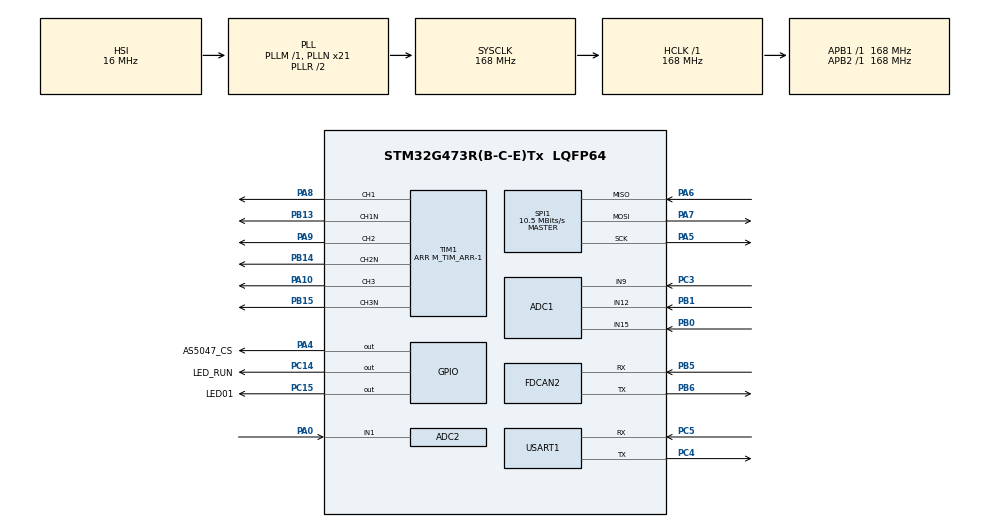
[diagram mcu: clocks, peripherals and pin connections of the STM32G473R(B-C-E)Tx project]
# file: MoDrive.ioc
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ADC1.Channel-0\#ChannelRegularConversion=ADC_CHANNEL_9
ADC1.ContinuousConvMode=ENABLE
ADC1.EnableInjectedConversion=ENABLE
ADC1.ExternalTrigInjecConv=ADC_EXTERNALTRIGINJEC_T1_CC4
ADC1.InjNumberOfConversion=2
ADC1.InjectedChannel-1\#ChannelInjectedConversion=ADC_CHANNEL_15
ADC1.InjectedChannel-2\#ChannelInjectedConversion=ADC_CHANNEL_12
ADC1.InjectedOffsetNumber-1\#ChannelInjectedConversion=ADC_OFFSET_NONE
ADC1.InjectedOffsetNumber-2\#ChannelInjectedConversion=ADC_OFFSET_NONE
ADC1.InjectedRank-1\#ChannelInjectedConversion=1
ADC1.InjectedRank-2\#ChannelInjectedConversion=2
ADC1.InjectedSamplingTime-1\#ChannelInjectedConversion=ADC_SAMPLETIME_2CYCLES_5
ADC1.InjectedSamplingTime-2\#ChannelInjectedConversion=ADC_SAMPLETIME_2CYCLES_5
ADC1.Mode=ADC_DUALMODE_INJECSIMULT
ADC1.NbrOfConversionFlag=1
ADC1.OffsetNumber-0\#ChannelRegularConversion=ADC_OFFSET_NONE
ADC1.Overrun=ADC_OVR_DATA_OVERWRITTEN
ADC1.Rank-0\#ChannelRegularConversion=1
ADC1.SamplingTime-0\#ChannelRegularConversion=ADC_SAMPLETIME_2CYCLES_5
ADC1.master=1
ADC2.EnableInjectedConversion=ENABLE
ADC2.EnableRegularConversion=DISABLE
ADC2.InjNumberOfConversion=1
ADC2.InjectedChannel-1\#ChannelInjectedConversion=ADC_CHANNEL_1
ADC2.InjectedOffsetNumber-1\#ChannelInjectedConversion=ADC_OFFSET_NONE
ADC2.InjectedRank-1\#ChannelInjectedConversion=1
ADC2.InjectedSamplingTime-1\#ChannelInjectedConversion=ADC_SAMPLETIME_2CYCLES_5
ADC2.Mode=ADC_DUALMODE_INJECSIMULT
ADC2.Rank2_Channel=ADC_CHANNEL_1
FDCAN2.CalculateBaudRateNominal=1000000
FDCAN2.CalculateTimeBitNominal=1000
FDCAN2.CalculateTimeQuantumNominal=125.0
FDCAN2.DataPrescaler=1
FDCAN2.DataTimeSeg2=1
FDCAN2.NominalPrescaler=21
FDCAN2.NominalTimeSeg1=3
FDCAN2.NominalTimeSeg2=4
Mcu.Family=STM32G4
Mcu.Name=STM32G473R(B-C-E)Tx
Mcu.Package=LQFP64
Mcu.UserConstants=M_TIM_ARR,8400
NVIC.ADC1_2_IRQn=true\:0\:0\:false\:false\:true\:true\:true\:true
NVIC.FDCAN2_IT0_IRQn=true\:1\:0\:true\:false\:true\:true\:true\:true
NVIC.FDCAN2_IT1_IRQn=true\:1\:0\:true\:false\:true\:true\:true\:true
NVIC.PriorityGroup=NVIC_PRIORITYGROUP_4
NVIC.TIM6_DAC_IRQn=true\:2\:0\:true\:false\:true\:true\:true\:true
PA0.Mode=IN1-Single-Ended
PA0.Signal=ADC2_IN1
PA10.Signal=S_TIM1_CH3
PA13.Mode=Serial_Wire
PA13.Signal=SYS_JTMS-SWDIO
PA14.Mode=Serial_Wire
PA14.Signal=SYS_JTCK-SWCLK
PA4.GPIO_Label=AS5047_CS
PA4.Signal=GPIO_Output
PA5.Mode=Full_Duplex_Master
PA5.Signal=SPI1_SCK
PA6.Mode=Full_Duplex_Master
PA6.Signal=SPI1_MISO
PA7.Mode=Full_Duplex_Master
PA7.Signal=SPI1_MOSI
PA8.Signal=S_TIM1_CH1
PA9.Signal=S_TIM1_CH2
PB0.Mode=IN15-Single-Ended
PB0.Signal=ADC1_IN15
PB1.Mode=IN12-Single-Ended
PB1.Signal=ADC1_IN12
PB13.Mode=PWM Generation1 CH1 CH1N
PB13.Signal=TIM1_CH1N
PB14.Mode=PWM Generation2 CH2 CH2N
PB14.Signal=TIM1_CH2N
PB15.Mode=PWM Generation3 CH3 CH3N
PB15.Signal=TIM1_CH3N
PB5.Mode=FDCAN_Activate
PB5.Signal=FDCAN2_RX
PB6.Mode=FDCAN_Activate
PB6.Signal=FDCAN2_TX
PC14-OSC32_IN.GPIO_Label=LED_RUN
PC14-OSC32_IN.Signal=GPIO_Output
PC15-OSC32_OUT.GPIO_Label=LED01
PC15-OSC32_OUT.Signal=GPIO_Output
PC3.Mode=IN9-Single-Ended
PC3.Signal=ADC1_IN9
PC4.Mode=Asynchronous
PC4.Signal=USART1_TX
PC5.Mode=Asynchronous
PC5.Signal=USART1_RX
ProjectManager.HeapSize=0x200
ProjectManager.StackSize=0x400
ProjectManager.TargetToolchain=CMake
RCC.ADC12Freq_Value=168000000
RCC.ADC345Freq_Value=168000000
RCC.AHBFreq_Value=168000000
RCC.APB1Freq_Value=168000000
RCC.APB1TimFreq_Value=168000000
RCC.APB2Freq_Value=168000000
RCC.APB2TimFreq_Value=168000000
RCC.CortexFreq_Value=168000000
RCC.EXTERNAL_CLOCK_VALUE=12288000
RCC.HCLKFreq_Value=168000000
RCC.HSE_VALUE=8000000
RCC.HSI48_VALUE=48000000
RCC.HSI_VALUE=16000000
RCC.LSE_VALUE=32768
RCC.PLLN=21
RCC.SYSCLKFreq_VALUE=168000000
RCC.SYSCLKSource=RCC_SYSCLKSOURCE_PLLCLK
RCC.USBFreq_Value=168000000
RCC.VCOOutputFreq_Value=336000000
SH.S_TIM1_CH1.0=TIM1_CH1,PWM Generation1 CH1 CH1N
SH.S_TIM1_CH2.0=TIM1_CH2,PWM Generation2 CH2 CH2N
SH.S_TIM1_CH3.0=TIM1_CH3,PWM Generation3 CH3 CH3N
SPI1.BaudRatePrescaler=SPI_BAUDRATEPRESCALER_16
SPI1.CLKPhase=SPI_PHASE_2EDGE
SPI1.CalculateBaudRate=10.5 MBits/s
SPI1.DataSize=SPI_DATASIZE_16BIT
SPI1.Direction=SPI_DIRECTION_2LINES
SPI1.Mode=SPI_MODE_MASTER
SPI1.VirtualType=VM_MASTER
TIM1.Channel-PWM\ Generation1\ CH1\ CH1N=TIM_CHANNEL_1
TIM1.Channel-PWM\ Generation2\ CH2\ CH2N=TIM_CHANNEL_2
TIM1.Channel-PWM\ Generation3\ CH3\ CH3N=TIM_CHANNEL_3
TIM1.Channel-PWM\ Generation4\ No\ Output=TIM_CHANNEL_4
TIM1.ClockDivision=TIM_CLOCKDIVISION_DIV2
TIM1.CounterMode=TIM_COUNTERMODE_CENTERALIGNED3
TIM1.OCMode_PWM-PWM\ Generation1\ CH1\ CH1N=TIM_OCMODE_PWM2
TIM1.OCMode_PWM-PWM\ Generation2\ CH2\ CH2N=TIM_OCMODE_PWM2
TIM1.OCMode_PWM-PWM\ Generation3\ CH3\ CH3N=TIM_OCMODE_PWM2
TIM1.OCMode_PWM-PWM\ Generation4\ No\ Output=TIM_OCMODE_PWM2
TIM1.PeriodNoDither=M_TIM_ARR-1
TIM1.PulseNoDither_1=M_TIM_ARR/2
TIM1.PulseNoDither_2=M_TIM_ARR/2
TIM1.PulseNoDither_3=M_TIM_ARR/2
TIM1.PulseNoDither_4=M_TIM_ARR/2
TIM1.RepetitionCounter=1
TIM1.TIM_MasterOutputTrigger=TIM_TRGO_OC4REF
TIM6.PeriodNoDither=999
TIM6.Prescaler=167
USART1.VirtualMode-Asynchronous=VM_ASYNC
VP_SYS_VS_DBSignals.Mode=DisableDeadBatterySignals
VP_TIM1_VS_ClockSourceINT.Mode=Internal
VP_TIM1_VS_no_output4.Mode=PWM Generation4 No Output
VP_TIM6_VS_ClockSourceINT.Mode=Enable_Timer
board=custom

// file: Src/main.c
/* USER CODE BEGIN Header */
/**
 ******************************************************************************
 * @file           : main.c
 * @brief          : Main program body
 ******************************************************************************
 * @attention
 *
 * Copyright (c) 2026 STMicroelectronics.
 * All rights reserved.
 *
 * This software is licensed under terms that can be found in the LICENSE file
 * in the root directory of this software component.
 * If no LICENSE file comes with this software, it is provided AS-IS.
 *
 ******************************************************************************
 */
/* USER CODE END Header */
#include "main.h"
#include "adc.h"
#include "fdcan.h"
#include "spi.h"
#include "tim.h"
#include "usart.h"
#include "gpio.h"

/* USER CODE BEGIN Includes */
#include "CO_app_STM32.h"
#include <stdint.h>
#include <stdio.h>
/* USER CODE END Includes */

/* USER CODE BEGIN PTD */
void HAL_TIM_PeriodElapsedCallback(TIM_HandleTypeDef *htim)
{
	if (htim->Instance == TIM6) {
		canopen_app_interrupt();
	}
}
/* USER CODE END PTD */

void SystemClock_Config(void);

int main(void)
{

	/* MCU Configuration--------------------------------------------------------*/

	/* Reset of all peripherals, Initializes the Flash interface and the Systick. */
	HAL_Init();

	/* Configure the system clock */
	SystemClock_Config();

	/* Initialize all configured peripherals */
	MX_GPIO_Init();
	MX_ADC1_Init();
	MX_ADC2_Init();
	MX_TIM1_Init();
	MX_FDCAN2_Init();
	MX_TIM6_Init();
	MX_USART1_UART_Init();
	MX_SPI1_Init();
	/* USER CODE BEGIN 2 */
	HAL_Delay(2000);
	adc_start();
	tim_tigger_adc();
	tim_pwm_enable();
	canopen_app_init();
	/* USER CODE END 2 */

	/* Infinite loop */
	/* USER CODE BEGIN WHILE */
	while (1) {

		// canopen_app_process();
		static uint32_t test_count;
		if (test_count++ > 500) {
			test_count = 0;
			HAL_GPIO_TogglePin(LED_RUN_GPIO_Port, LED_RUN_Pin);
		}
		HAL_Delay(1);
		/* USER CODE END WHILE */

	}
}

void SystemClock_Config(void)
{
	RCC_OscInitTypeDef RCC_OscInitStruct = {0};
	RCC_ClkInitTypeDef RCC_ClkInitStruct = {0};

	/** Configure the main internal regulator output voltage
	 */
	HAL_PWREx_ControlVoltageScaling(PWR_REGULATOR_VOLTAGE_SCALE1_BOOST);

	/** Initializes the RCC Oscillators according to the specified parameters
	 * in the RCC_OscInitTypeDef structure.
	 */
	RCC_OscInitStruct.OscillatorType = RCC_OSCILLATORTYPE_HSI;
	RCC_OscInitStruct.HSIState = RCC_HSI_ON;
	RCC_OscInitStruct.HSICalibrationValue = RCC_HSICALIBRATION_DEFAULT;
	RCC_OscInitStruct.PLL.PLLState = RCC_PLL_ON;
	RCC_OscInitStruct.PLL.PLLSource = RCC_PLLSOURCE_HSI;
	RCC_OscInitStruct.PLL.PLLM = RCC_PLLM_DIV1;
	RCC_OscInitStruct.PLL.PLLN = 21;
	RCC_OscInitStruct.PLL.PLLP = RCC_PLLP_DIV2;
	RCC_OscInitStruct.PLL.PLLQ = RCC_PLLQ_DIV2;
	RCC_OscInitStruct.PLL.PLLR = RCC_PLLR_DIV2;
	if (HAL_RCC_OscConfig(&RCC_OscInitStruct) != HAL_OK) {
		Error_Handler();
	}

	/** Initializes the CPU, AHB and APB buses clocks
	 */
	RCC_ClkInitStruct.ClockType = RCC_CLOCKTYPE_HCLK | RCC_CLOCKTYPE_SYSCLK |
				      RCC_CLOCKTYPE_PCLK1 | RCC_CLOCKTYPE_PCLK2;
	RCC_ClkInitStruct.SYSCLKSource = RCC_SYSCLKSOURCE_PLLCLK;
	RCC_ClkInitStruct.AHBCLKDivider = RCC_SYSCLK_DIV1;
	RCC_ClkInitStruct.APB1CLKDivider = RCC_HCLK_DIV1;
	RCC_ClkInitStruct.APB2CLKDivider = RCC_HCLK_DIV1;

	if (HAL_RCC_ClockConfig(&RCC_ClkInitStruct, FLASH_LATENCY_4) != HAL_OK) {
		Error_Handler();
	}
}

void Error_Handler(void)
{
	__disable_irq();
	while (1) {
	}
}

#ifdef USE_FULL_ASSERT
/**
 * @brief  Reports the name of the source file and the source line number
 *         where the assert_param error has occurred.
 * @param  file: pointer to the source file name
 * @param  line: assert_param error line source number
 * @retval None
 */
void assert_failed(uint8_t *file, uint32_t line)
{
	/* USER CODE BEGIN 6 */
	/* User can add his own implementation to report the file name and line
	   number, ex: printf("Wrong parameters value: file %s on line %d\r\n", file,
	   line) */
	/* USER CODE END 6 */
}
#endif /* USE_FULL_ASSERT */
